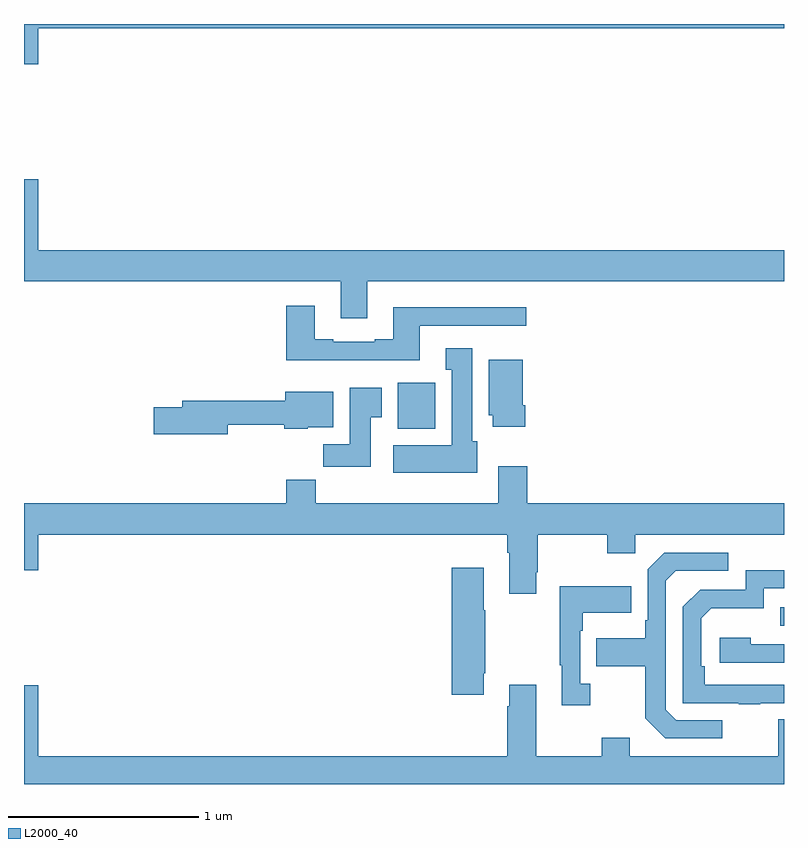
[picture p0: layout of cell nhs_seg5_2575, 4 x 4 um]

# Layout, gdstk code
import gdstk
lib = gdstk.Library(unit=1e-6, precision=1e-09)
def R(c, l, rs):  # rectangles x0, y0, x1, y1
    for r in rs: c.add(gdstk.rectangle(r[:2], r[2:], *l))
def P(c, l, *ps):  # polygons
    for p in ps: c.add(gdstk.Polygon(p, *l))
L2000_40 = (2000, 40)

nhs_seg5_2575 = lib.new_cell('nhs_seg5_2575')
R(nhs_seg5_2575, L2000_40, [(264.979,837.633,265,837.729), (262.967,838.67,263.164,838.912)])
P(nhs_seg5_2575, L2000_40, [(261.076,840.776),(265,840.776),(265,840.799),(261,840.799),(261,840.588),(261.076,840.588)],
  [(262.807,839.444),(265,839.444),(265,839.608),(261.076,839.608),(261.076,839.983),(261,839.983),(261,839.444),(262.667,839.444),(262.667,839.25),(262.807,839.25)],
  [(263.083,839.211),(263.644,839.211),(263.644,839.308),(262.943,839.308),(262.943,839.14),(262.847,839.14),(262.847,839.127),(262.627,839.127),(262.627,839.14),(262.531,839.14),(262.531,839.317),(262.379,839.317),(262.379,839.03),(263.083,839.03)],
  [(263.386,838.602),(263.359,838.602),(263.359,839.092),(263.219,839.092),(263.219,838.979),(263.252,838.979),(263.252,838.582),(262.943,838.582),(262.943,838.436),(263.386,838.436)],
  [(263.639,838.792),(263.626,838.792),(263.626,839.032),(263.447,839.032),(263.447,838.74),(263.468,838.74),(263.468,838.68),(263.639,838.68)],
  [(262.825,838.729),(262.882,838.729),(262.882,838.885),(262.715,838.885),(262.715,838.588),(262.576,838.588),(262.576,838.47),(262.825,838.47)],
  [(262.072,838.689),(262.369,838.689),(262.369,838.67),(262.494,838.67),(262.494,838.676),(262.627,838.676),(262.627,838.864),(262.376,838.864),(262.376,838.817),(261.833,838.817),(261.833,838.781),(261.684,838.781),(261.684,838.639),(262.072,838.639)],
  [(263.695,837.913),(263.703,837.913),(263.703,838.112),(264.07,838.112),(264.07,838.013),(264.216,838.013),(264.216,838.112),(265,838.112),(265,838.276),(263.648,838.276),(263.648,838.471),(263.495,838.471),(263.495,838.276),(262.535,838.276),(262.535,838.4),(262.379,838.4),(262.379,838.276),(261,838.276),(261,837.924),(261.076,837.924),(261.076,838.112),(263.543,838.112),(263.543,838.016),(263.555,838.016),(263.555,837.801),(263.695,837.801)],
  [(264.676,837.135),(264.432,837.135),(264.378,837.189),(264.378,837.87),(264.429,837.921),(264.706,837.921),(264.706,838.017),(264.369,838.017),(264.282,837.93),(264.282,837.661),(264.27,837.661),(264.27,837.565),(264.013,837.565),(264.013,837.418),(264.27,837.418),(264.27,837.145),(264.375,837.039),(264.676,837.039)],
  [(263.419,837.382),(263.427,837.382),(263.427,837.713),(263.419,837.713),(263.419,837.937),(263.252,837.937),(263.252,837.27),(263.419,837.27)],
  [(264.875,837.225),(265,837.225),(265,837.321),(264.584,837.321),(264.584,837.418),(264.564,837.418),(264.564,837.672),(264.617,837.725),(264.894,837.725),(264.894,837.828),(265,837.828),(265,837.924),(264.798,837.924),(264.798,837.822),(264.558,837.822),(264.468,837.732),(264.468,837.225),(264.763,837.225),(264.763,837.22),(264.875,837.22)],
  [(263.98,837.326),(263.928,837.326),(263.928,837.605),(263.941,837.605),(263.941,837.701),(264.197,837.701),(264.197,837.841),(263.82,837.841),(263.82,837.425),(263.831,837.425),(263.831,837.213),(263.98,837.213)],
  [(265,837.534),(264.824,837.534),(264.824,837.568),(264.663,837.568),(264.663,837.438),(265,837.438)],
  [(265,837.139),(264.971,837.139),(264.971,836.944),(264.187,836.944),(264.187,837.043),(264.04,837.043),(264.04,836.944),(263.695,836.944),(263.695,837.322),(263.555,837.322),(263.555,837.209),(263.543,837.209),(263.543,836.944),(261.076,836.944),(261.076,837.319),(261,837.319),(261,836.799),(265,836.799)])

lib.write_gds('nhs_seg5_2575.gds')
